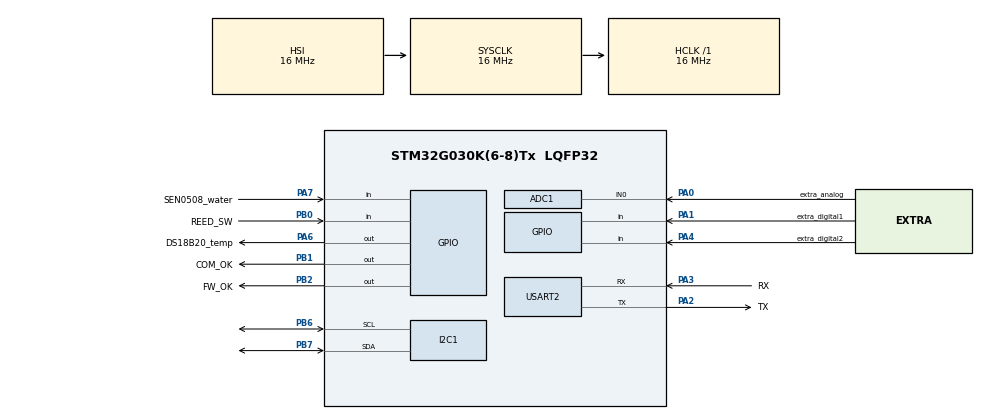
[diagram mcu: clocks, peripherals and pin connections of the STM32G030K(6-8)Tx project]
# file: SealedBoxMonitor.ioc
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ADC1.Channel-0\#ChannelRegularConversion=ADC_CHANNEL_0
ADC1.NbrOfConversionFlag=1
ADC1.Rank-0\#ChannelRegularConversion=1
ADC1.SamplingTime-0\#ChannelRegularConversion=ADC_SAMPLINGTIME_COMMON_1
ADC1.SelectedChannel=ADC_CHANNEL_0
ADC1.master=1
I2C1.Timing=0x00503D58
Mcu.Family=STM32G0
Mcu.Name=STM32G030K(6-8)Tx
Mcu.Package=LQFP32
NVIC.TIM1_BRK_UP_TRG_COM_IRQn=true\:0\:0\:false\:false\:true\:true\:true\:true
PA0.GPIO_Label=extra_analog
PA0.Mode=IN0
PA0.Signal=ADC1_IN0
PA1.GPIO_Label=extra_digital1
PA1.Signal=GPIO_Input
PA13.GPIO_Label=SWDIO
PA13.Mode=Serial_Wire
PA13.Signal=SYS_SWDIO
PA14-BOOT0.GPIO_Label=SWCLK
PA14-BOOT0.Mode=Serial_Wire
PA14-BOOT0.Signal=SYS_SWCLK
PA2.GPIO_Label=TX
PA2.Mode=Asynchronous
PA2.Signal=USART2_TX
PA3.GPIO_Label=RX
PA3.Mode=Asynchronous
PA3.Signal=USART2_RX
PA4.GPIO_Label=extra_digital2
PA4.Signal=GPIO_Input
PA6.GPIO_Label=DS18B20_temp
PA6.GPIO_ModeDefaultOutputPP=GPIO_MODE_OUTPUT_OD
PA6.GPIO_PuPd=GPIO_NOPULL
PA6.PinState=GPIO_PIN_SET
PA6.Signal=GPIO_Output
PA7.GPIO_Label=SEN0508_water
PA7.Signal=GPIO_Input
PB0.GPIO_Label=REED_SW
PB0.Signal=GPIO_Input
PB1.GPIO_Label=COM_OK
PB1.Signal=GPIO_Output
PB2.GPIO_Label=FW_OK
PB2.Signal=GPIO_Output
PB6.Mode=I2C
PB6.Signal=I2C1_SCL
PB7.Mode=I2C
PB7.Signal=I2C1_SDA
ProjectManager.HeapSize=0x200
ProjectManager.StackSize=0x400
ProjectManager.TargetToolchain=STM32CubeIDE
RCC.AHBFreq_Value=16000000
RCC.CortexFreq_Value=16000000
RCC.EXTERNAL_CLOCK_VALUE=12288000
RCC.HCLKFreq_Value=16000000
RCC.HSE_VALUE=8000000
RCC.HSI_VALUE=16000000
RCC.LSE_VALUE=32768
RCC.SYSCLKFreq_VALUE=16000000
RCC.VCOOutputFreq_Value=128000000
TIM1.Prescaler=15
USART2.VirtualMode-Asynchronous=VM_ASYNC
VP_IWDG_VS_IWDG.Mode=IWDG_Activate
VP_TIM1_VS_ClockSourceINT.Mode=Internal
board=custom

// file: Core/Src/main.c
/* USER CODE BEGIN Header */
/* SealedBoxMonitor FirmWare Version 1 */
/* Mathis Vossaert and David Ulises Trejo Cancino */
/* USER CODE END Header */
#include "main.h"
#include "adc.h"
#include "i2c.h"
#include "iwdg.h"
#include "tim.h"
#include "usart.h"
#include "gpio.h"

/* USER CODE BEGIN Includes */
#include "ds18b20.h"                            // Temperature sensor
#include <stdio.h>
#include <math.h>
#include "ssd1306.h"							// OLED I2C Screen for debugging
#include "ssd1306_fonts.h"
/* USER CODE END Includes */

/* USER CODE BEGIN PD */
#define HIH_I2C_ADDRESS (0x27 << 1)             // I2C address for the HIH sensor
#define HUMIDITY_SAMPLES 10                     // Moving average sample count
#define SCREEN_I2C_ADDRESS (0x3C << 1)

// Temperature alarm thresholds with hysteresis
#define COMP_TEMP_HIGH_THRESH  50.0f            // Trigger high alarm above this
#define COMP_TEMP_HIGH_CLEAR   45.0f            // Clear high alarm below this
#define COMP_TEMP_LOW_THRESH   0.0f             // Trigger low alarm below this
#define COMP_TEMP_LOW_CLEAR    5.0f             // Clear high alarm above this
#define BOX_TEMP_HIGH_THRESH   50.0f            // Trigger high alarm above this
#define BOX_TEMP_HIGH_CLEAR    45.0f            // Clear high alarm below this
#define BOX_TEMP_LOW_THRESH    0.0f             // Trigger low alarm below this
#define BOX_TEMP_LOW_CLEAR     5.0f             // Clear high alarm above this
#define DEW_POINT_ALARM_DIFF   3.0f				// Trigger dew alarm above this
#define DEW_POINT_CLEAR_DIFF   5.0f				// CLear dew alarm below this
#define HUMIDITY_HIGH_THRESH   60.0f			// Trigger high alarm above this
#define HUMIDITY_HIGH_CLEAR    55.0f			// Clear high alarm below this
/* USER CODE END PD */

/* USER CODE BEGIN PV */
ds18b20_t ds18;                                 // Object that controls the DS18B20

// Debounce, noise protection timers
uint32_t previous_tick_humidity = 0;
uint32_t current_tick_humidity = 0;
const uint32_t interval_humidity = 3600000;     // 1 hour interval (ms)

uint32_t previous_tick_water = 0;
uint32_t current_tick_water = 0;
const uint32_t interval_water = 3000;           // 3 sec interval (ms)

uint32_t previous_tick_door = 0;
uint32_t current_tick_door = 0;
const uint32_t interval_door = 2000; 			// 2 sec interval (ms)

// Sensor data variables
GPIO_PinState door_state;
GPIO_PinState water_state;
float component_temp = 0.0f;
float box_temp = 0.0f;
float box_humidity = 0.0f;
float raw_temp = 0.0f;
float raw_humidity = 0.0f;
float dew_point = 0.0f;

// Humidity data filtering buffer
float humidity_buffer[HUMIDITY_SAMPLES];
uint8_t humidity_buffer_index = 0;
uint8_t humidity_buffer_filled = 0;             // Startup buffer initialization flag

// Alarm states
static uint8_t humidity_alarm = 0;				// High humidity alarm
static uint8_t dew_alarm = 0;					// Condensation danger alarm
static uint8_t water_alarm = 0;					// Water intrusion alarm
static uint8_t door_alarm = 0;					// Door opened alarm
static uint8_t box_temp_alarm = 0;              // Out-of-range alarm for box temp
static uint8_t comp_temp_alarm = 0;             // Out-of-range alarm for component temp
uint16_t status_word = 0;

// Fault flags
uint8_t ds18_fault = 0;
uint8_t hih_fault = 0;

//Screen Display
uint8_t display_initialized = 0;
/* USER CODE END PV */

void SystemClock_Config(void);
/* USER CODE BEGIN PFP */
void Process_Analog_Sensors(void);
void Process_Digital_Sensors(void);
void Transmit_Telemetry(void);
void Screen_Display(void);
/* USER CODE END PFP */

/* USER CODE BEGIN 0 */

// Bridge function connecting Timer 1 and the 1-Wire library
void ds18_tim_cb(TIM_HandleTypeDef *htim)
{
    if (htim->Instance == TIM1) {
        ow_callback(&ds18.ow);
    }
}
/* USER CODE END 0 */

int main(void)
{

  /* MCU Configuration--------------------------------------------------------*/

  /* Reset of all peripherals, Initializes the Flash interface and the Systick. */
  HAL_Init();

  /* Configure the system clock */
  SystemClock_Config();

  /* Initialize all configured peripherals */
  MX_GPIO_Init();
  MX_ADC1_Init();
  MX_I2C1_Init();
  MX_USART2_UART_Init();
  MX_TIM1_Init();
  MX_IWDG_Init();

  /* USER CODE BEGIN 2 */
    // Start Timer 1 in interrupt mode for the 1-Wire bus
    HAL_TIM_Base_Start_IT(&htim1);

    // Initial config for the 1-Wire DS18B20 protocol
    ow_init_t ow_init_struct;
    ow_init_struct.tim_handle = &htim1;           // Link to Timer 1 (1us tick)
    ow_init_struct.gpio = GPIOA;
    ow_init_struct.pin = GPIO_PIN_6;
    ow_init_struct.tim_cb = ds18_tim_cb;          // Link to the callback function above
    ow_init_struct.done_cb = NULL;
    ow_init_struct.rom_id_filter = DS18B20_ID;    // Filter for DS18B20 sensors

    ds18b20_init(&ds18, &ow_init_struct);         // Initialization
    ds18b20_update_rom_id(&ds18);                 // Scan the wire to find the sensor

    // Timeout protection on startup ROM search
    uint32_t init_timeout = HAL_GetTick();
    while(ds18b20_is_busy(&ds18)) {
        if (HAL_GetTick() - init_timeout > 100) { // 100ms timeout
            break;
        }
    }
  /* USER CODE END 2 */

  /* Infinite loop */
  while (1)
  {

    /* USER CODE BEGIN 3 */
      Process_Analog_Sensors();			// Collect HIH8131 (box temperature and humidity) and DS18B20 (component temperature)
      Process_Digital_Sensors();     	// Collect SEN0508 (Water) and Reed Switch (Door)
      Transmit_Telemetry();				// Send data to CR1000X
      Screen_Display();					// If wired, display data on 128 x 64 OLED Screen

      HAL_GPIO_TogglePin(GPIOB, GPIO_PIN_2); //LEDs to help debug or show firmware/communication status
      HAL_GPIO_TogglePin(GPIOB, GPIO_PIN_1);

      HAL_IWDG_Refresh(&hiwdg);			// IWDG Refresh
  }
  /* USER CODE END 3 */
}

void SystemClock_Config(void)
{
  RCC_OscInitTypeDef RCC_OscInitStruct = {0};
  RCC_ClkInitTypeDef RCC_ClkInitStruct = {0};

  /** Configure the main internal regulator output voltage
  */
  HAL_PWREx_ControlVoltageScaling(PWR_REGULATOR_VOLTAGE_SCALE1);

  /** Initializes the RCC Oscillators according to the specified parameters
  * in the RCC_OscInitTypeDef structure.
  */
  RCC_OscInitStruct.OscillatorType = RCC_OSCILLATORTYPE_HSI|RCC_OSCILLATORTYPE_LSI;
  RCC_OscInitStruct.HSIState = RCC_HSI_ON;
  RCC_OscInitStruct.HSIDiv = RCC_HSI_DIV1;
  RCC_OscInitStruct.HSICalibrationValue = RCC_HSICALIBRATION_DEFAULT;
  RCC_OscInitStruct.LSIState = RCC_LSI_ON;
  RCC_OscInitStruct.PLL.PLLState = RCC_PLL_NONE;
  if (HAL_RCC_OscConfig(&RCC_OscInitStruct) != HAL_OK)
  {
    Error_Handler();
  }

  /** Initializes the CPU, AHB and APB buses clocks
  */
  RCC_ClkInitStruct.ClockType = RCC_CLOCKTYPE_HCLK|RCC_CLOCKTYPE_SYSCLK
                              |RCC_CLOCKTYPE_PCLK1;
  RCC_ClkInitStruct.SYSCLKSource = RCC_SYSCLKSOURCE_HSI;
  RCC_ClkInitStruct.AHBCLKDivider = RCC_SYSCLK_DIV1;
  RCC_ClkInitStruct.APB1CLKDivider = RCC_HCLK_DIV1;

  if (HAL_RCC_ClockConfig(&RCC_ClkInitStruct, FLASH_LATENCY_0) != HAL_OK)
  {
    Error_Handler();
  }
}

/* USER CODE BEGIN 4 */

/**
  * @brief  Handles analog/digital sensor measurements (DS18B20 & HIH8131)
  */
void Process_Analog_Sensors(void)
{
    uint8_t hih_raw_bytes[4];                   // 4-byte raw buffer for HIH8131

    // 1. Start DS18B20 conversion
    ds18b20_cnv(&ds18);
    uint32_t cnv_timeout = HAL_GetTick();
    while(ds18b20_is_busy(&ds18)) {
        if (HAL_GetTick() - cnv_timeout > 100) {
            break;
        }
    }

    // 2. HIH8131 Measurement Request over I2C
    HAL_StatusTypeDef tx_status = HAL_I2C_Master_Transmit(&hi2c1, HIH_I2C_ADDRESS, NULL, 0, 100);

    // 3. Wait for parallel sensor conversions (~800ms)
    HAL_Delay(800);

    // 4. Collect DS18B20 component temperature with timeouts
    uint32_t cnv_done_timeout = HAL_GetTick();
    while(!ds18b20_is_cnv_done(&ds18)) {
        if (HAL_GetTick() - cnv_done_timeout > 100) {
            break;
        }
    }

    ds18b20_req_read(&ds18, 0);

    uint32_t read_busy_timeout = HAL_GetTick();
    while(ds18b20_is_busy(&ds18)) {
        if (HAL_GetTick() - read_busy_timeout > 100) {
            break;
        }
    }
    //Fault if data is stuck with sensor's initialized value
    float temp_read = ds18b20_read_c(&ds18);
    if (temp_read != 85.0f && temp_read != -127.0f) {
        component_temp = temp_read;
        ds18_fault = 0;

        // Component Temperature Alarm with Hysteresis
        if (component_temp >= COMP_TEMP_HIGH_THRESH || component_temp <= COMP_TEMP_LOW_THRESH) {
            comp_temp_alarm = 1;
        } else if (component_temp < COMP_TEMP_HIGH_CLEAR && component_temp > COMP_TEMP_LOW_CLEAR) {
            comp_temp_alarm = 0;
        }
    }
    else {
        ds18_fault = 1;
    }

    // 5. Collect HIH8131 bytes over I2C
    HAL_StatusTypeDef rx_status = HAL_I2C_Master_Receive(&hi2c1, HIH_I2C_ADDRESS, hih_raw_bytes, 4, 100);

    // 6. Process HIH data if transfers succeeded and status bits are valid (0x00)
    if (tx_status == HAL_OK && rx_status == HAL_OK) {
        uint8_t hih_status = (hih_raw_bytes[0] >> 6) & 0x03;

        if (hih_status == 0x00) {
            hih_fault = 0;

            // Convert 14-bit raw counts to physical values
            uint16_t raw_humidity_counts = (((uint16_t)(hih_raw_bytes[0] & 0x3F)) << 8) | hih_raw_bytes[1];
            raw_humidity = ((float)raw_humidity_counts / 16382.0f) * 100.0f;

            uint16_t raw_temp_counts = (((uint16_t)hih_raw_bytes[2] << 8) | hih_raw_bytes[3]) >> 2;
            raw_temp = ((float)raw_temp_counts / 16382.0f) * 165.0f - 40.0f;
            box_temp = raw_temp;

            // Box Temperature Alarm with Hysteresis
            if (box_temp >= BOX_TEMP_HIGH_THRESH || box_temp <= BOX_TEMP_LOW_THRESH) {
                box_temp_alarm = 1;
            } else if (box_temp < BOX_TEMP_HIGH_CLEAR && box_temp > BOX_TEMP_LOW_CLEAR) {
                box_temp_alarm = 0;
            }

            // Average of 10 values
            if (!humidity_buffer_filled) {
                for (int i = 0; i < HUMIDITY_SAMPLES; i++) { //First 10 values directly used
                    humidity_buffer[i] = raw_humidity;
                }
                humidity_buffer_filled = 1;
            }

            humidity_buffer[humidity_buffer_index] = raw_humidity;
            humidity_buffer_index = (humidity_buffer_index + 1) % HUMIDITY_SAMPLES; //Removes the oldest value for the newest

            float sum = 0.0f;
            for (int j = 0; j < HUMIDITY_SAMPLES; j++) {
                sum += humidity_buffer[j];
            }
            box_humidity = sum / (float)HUMIDITY_SAMPLES;

            // Humidity Alarm Logic (> 60% for 1h)
            if (box_humidity > 60.0f) {
                current_tick_humidity = HAL_GetTick();
                if (current_tick_humidity - previous_tick_humidity >= interval_humidity) {
                    humidity_alarm = 1;
                }
            } else {
                previous_tick_humidity = HAL_GetTick();
            }

            if (box_humidity < 55.0f) {
                humidity_alarm = 0;
            }

            // Dew Point & Condensation Alarm Logic (Magnus-Tetens)
            float safe_humidity = box_humidity;
            if (safe_humidity < 0.1f) {
                safe_humidity = 0.1f;
            } else if (safe_humidity > 100.0f) {         //safe_humidity to exclude undefined domain values for log(x)
                safe_humidity = 100.0f;
            }

            float gamma = (17.27f * box_temp) / (237.7f + box_temp) + logf(safe_humidity / 100.0f);
            dew_point = (237.7f * gamma) / (17.27f - gamma);

            if ((box_temp - dew_point) <= 3.0f) {
                dew_alarm = 1;
            } else if ((box_temp - dew_point) > 5.0f) {
                dew_alarm = 0;
            }
        }
    }
    else {
        hih_fault = 1;
    }
}

/**
  * @brief  Reads and debounces GPIO digital sensors (Water & Door)
  */
void Process_Digital_Sensors(void)
{
    // Water Sensor
    water_state = HAL_GPIO_ReadPin(GPIOA, GPIO_PIN_7);
    if (water_state == GPIO_PIN_RESET) {
        current_tick_water = HAL_GetTick();
        if (current_tick_water - previous_tick_water >= interval_water) {
            water_alarm = 1;
        }
    }
    else {
        previous_tick_water = HAL_GetTick();
    }

    // Door Sensor
    door_state = HAL_GPIO_ReadPin(GPIOB, GPIO_PIN_0);
    if (door_state == GPIO_PIN_SET){
        current_tick_door = HAL_GetTick();
        if(current_tick_door - previous_tick_door >= interval_door){
            door_alarm = 1;
        }
    }
    else {
        previous_tick_door = HAL_GetTick();
    }
}

/**
  * @brief  Builds status word bitmask, formats telemetry string and transmits via UART
  */
void Transmit_Telemetry(void)
{
    // Construct status word (bitmask) including all faults and alarms of the system
    status_word = 0;
    if (humidity_alarm)    status_word |= (1 << 0); // Bit 0
    if (dew_alarm)         status_word |= (1 << 1); // Bit 1
    if (water_alarm)       status_word |= (1 << 2); // Bit 2
    if (door_alarm)        status_word |= (1 << 3); // Bit 3
    if (box_temp_alarm)    status_word |= (1 << 4); // Bit 4
    if (comp_temp_alarm)   status_word |= (1 << 5); // Bit 5
    if (ds18_fault)        status_word |= (1 << 6); // Bit 6
    if (hih_fault)         status_word |= (1 << 7); // Bit 7

    char buffer[120];
    int length = snprintf(buffer, sizeof(buffer),
                          "CompTemp: %.1fC | BoxTemp: %.1fC | BoxHum: %.1f%% | DewPoint: %.1fC | Door: %d | Status: 0x%02X\r\n",
                          component_temp, box_temp, box_humidity, dew_point, (int)door_state, status_word);

    if (length > 0) {
        if ((size_t)length >= sizeof(buffer)) {
            length = sizeof(buffer) - 1;
        }
        HAL_UART_Transmit(&huart2, (uint8_t*)buffer, (uint16_t)length, 1000);
        door_alarm = 0;  // Reset door latch alarm after transmission, to prevent missing a quick door opening
    }
}
/**
  * @brief  Reads and debounces GPIO digital sensors (Water & Door)
  */
void Screen_Display(void)
{
	//Verify screen is connected
	if (HAL_I2C_IsDeviceReady(&hi2c1, SCREEN_I2C_ADDRESS, 1, 50) == HAL_OK) {

		        //Verify if screen has been initialized
		        if (display_initialized == 0) {
		        	ssd1306_Init();
		        	//Rotate the text 180, because the screen is physically reversed
		        	ssd1306_WriteCommand(0xA0); // Inverse collumns
		        	ssd1306_WriteCommand(0xC0); // Inverse rows (up/down)
		            display_initialized = 1;
		        }
		                // Convert data
		                char buf1[32];
		                char buf2[32];
		                char buf3[32];
		                snprintf(buf1, sizeof(buf1), "Temp: %.1f C", box_temp);
		                snprintf(buf2, sizeof(buf2), "Hum: %.1f %%", box_humidity);
		                snprintf(buf3, sizeof(buf3), "Status: 0x%02X", status_word);

		                // Refresh display
		                ssd1306_Fill(Black);

		                // Writing process
		                ssd1306_SetCursor(2, 2);
		                ssd1306_WriteString(buf1, Font_11x18, White);    //We can use a smaller font if necessary; Font_7x10
		                ssd1306_SetCursor(2, 22);
		                ssd1306_WriteString(buf2, Font_11x18, White);
		                ssd1306_SetCursor(2, 42);
		                ssd1306_WriteString(buf3, Font_11x18, White);

		                // Execute changes
		                ssd1306_UpdateScreen();

	}
    else  {
		                // No screen detected, force intialization to 0 for next cycle
		                display_initialized = 0;
    }
}

/* USER CODE END USER CODE 4 */

void Error_Handler(void)
{
  __disable_irq();
  while (1)
  {
  }
}
